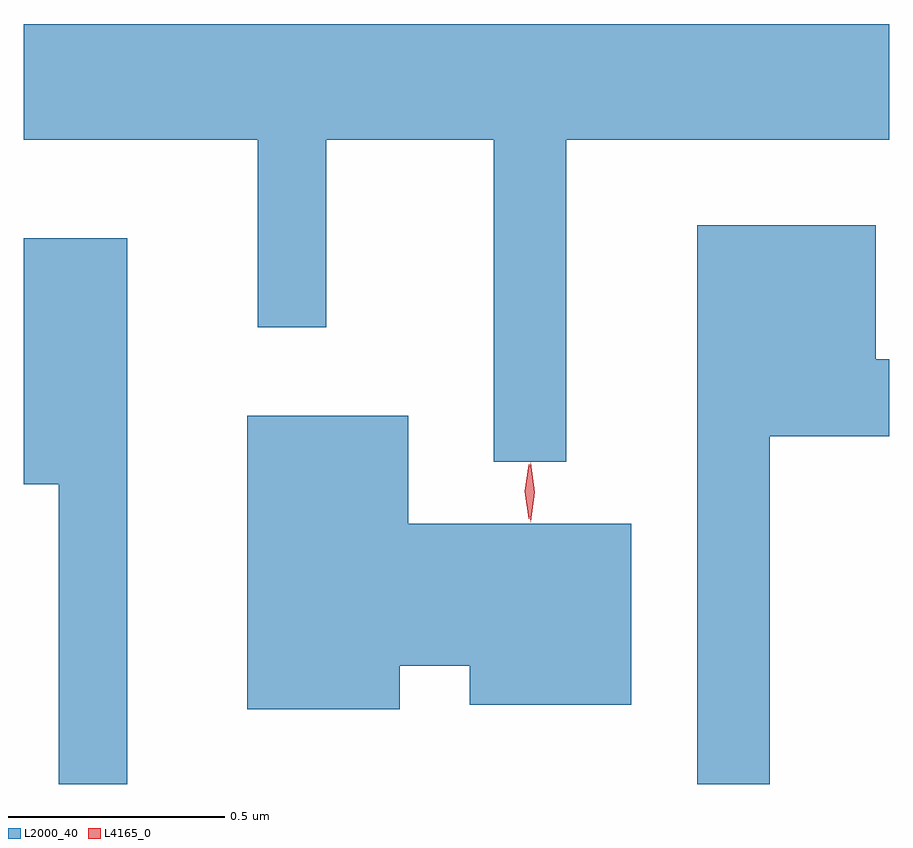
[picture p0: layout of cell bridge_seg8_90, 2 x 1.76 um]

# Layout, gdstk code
import gdstk
lib = gdstk.Library(unit=1e-6, precision=1e-09)
def P(c, l, *ps):  # polygons
    for p in ps: c.add(gdstk.Polygon(p, *l))
L2000_40 = (2000, 40)
L4165_0 = (4165, 0)

bridge_seg8_90 = lib.new_cell('bridge_seg8_90')
P(bridge_seg8_90, L2000_40, [(1525.689,1856.396),(1526.435,1856.396),(1526.435,1856.664),(1524.435,1856.664),(1524.435,1856.396),(1524.976,1856.396),(1524.976,1855.963),(1525.134,1855.963),(1525.134,1856.396),(1525.521,1856.396),(1525.521,1855.653),(1525.689,1855.653)],
  [(1526.159,1855.711),(1526.435,1855.711),(1526.435,1855.889),(1526.404,1855.889),(1526.404,1856.199),(1525.991,1856.199),(1525.991,1854.908),(1526.159,1854.908)],
  [(1524.674,1856.169),(1524.435,1856.169),(1524.435,1855.601),(1524.516,1855.601),(1524.516,1854.908),(1524.674,1854.908)],
  [(1525.304,1855.181),(1525.466,1855.181),(1525.466,1855.091),(1525.839,1855.091),(1525.839,1855.509),(1525.324,1855.509),(1525.324,1855.759),(1524.951,1855.759),(1524.951,1855.081),(1525.304,1855.081)])
P(bridge_seg8_90, L4165_0, [(1525.602,1855.521),(1525.593,1855.584),(1525.602,1855.646),(1525.603,1855.647),(1525.603,1855.646),(1525.613,1855.584),(1525.603,1855.521),(1525.603,1855.521)],
  [(1525.607,1855.513),(1525.606,1855.514),(1525.596,1855.582),(1525.606,1855.65),(1525.606,1855.65),(1525.607,1855.65),(1525.616,1855.582),(1525.607,1855.514)])

lib.write_gds('bridge_seg8_90.gds')
